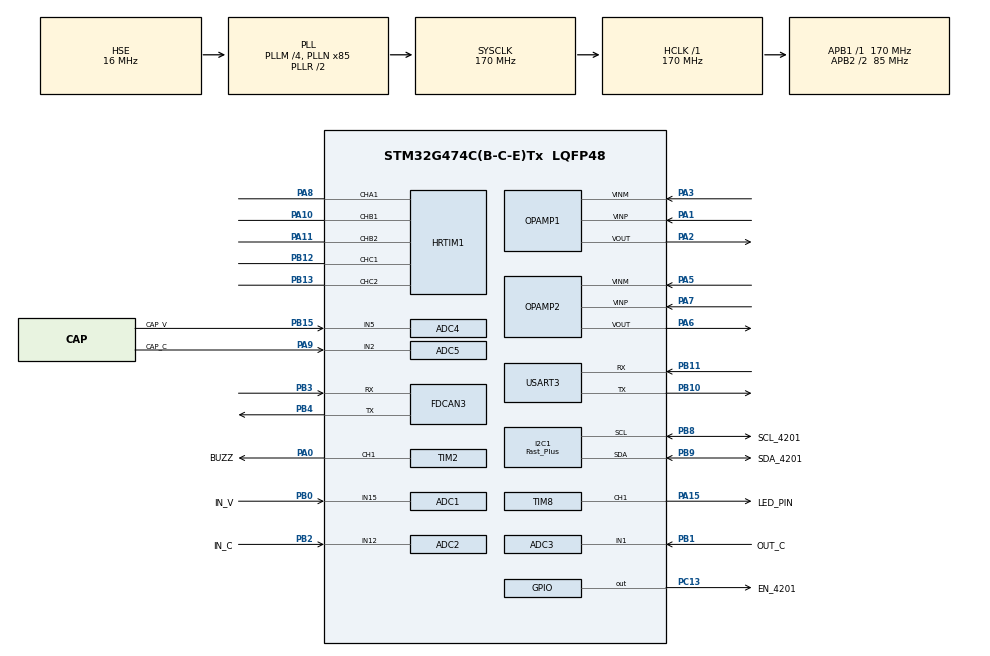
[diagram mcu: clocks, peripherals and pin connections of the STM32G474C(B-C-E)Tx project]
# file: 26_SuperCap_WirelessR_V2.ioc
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ADC1.Channel-0\#ChannelRegularConversion=ADC_CHANNEL_15
ADC1.DMAContinuousRequests=ENABLE
ADC1.ExternalTrigConv=ADC_EXTERNALTRIG_HRTIM_TRG1
ADC1.Mode=ADC_MODE_INDEPENDENT
ADC1.NbrOfConversion=1
ADC1.NbrOfConversionFlag=1
ADC1.OffsetNumber-0\#ChannelRegularConversion=ADC_OFFSET_NONE
ADC1.Overrun=ADC_OVR_DATA_OVERWRITTEN
ADC1.OversamplingMode=DISABLE
ADC1.Rank-0\#ChannelRegularConversion=1
ADC1.SamplingTime-0\#ChannelRegularConversion=ADC_SAMPLETIME_6CYCLES_5
ADC1.master=1
ADC2.Channel-0\#ChannelRegularConversion=ADC_CHANNEL_12
ADC2.DMAContinuousRequests=ENABLE
ADC2.ExternalTrigConv=ADC_EXTERNALTRIG_HRTIM_TRG1
ADC2.NbrOfConversionFlag=1
ADC2.OffsetNumber-0\#ChannelRegularConversion=ADC_OFFSET_NONE
ADC2.Overrun=ADC_OVR_DATA_OVERWRITTEN
ADC2.OversamplingMode=DISABLE
ADC2.Rank-0\#ChannelRegularConversion=1
ADC2.SamplingTime-0\#ChannelRegularConversion=ADC_SAMPLETIME_6CYCLES_5
ADC3.Channel-0\#ChannelRegularConversion=ADC_CHANNEL_1
ADC3.DMAContinuousRequests=ENABLE
ADC3.ExternalTrigConv=ADC_EXTERNALTRIG_HRTIM_TRG1
ADC3.NbrOfConversion=1
ADC3.NbrOfConversionFlag=1
ADC3.OffsetNumber-0\#ChannelRegularConversion=ADC_OFFSET_NONE
ADC3.Overrun=ADC_OVR_DATA_OVERWRITTEN
ADC3.OversamplingMode=DISABLE
ADC3.Rank-0\#ChannelRegularConversion=1
ADC3.SamplingTime-0\#ChannelRegularConversion=ADC_SAMPLETIME_6CYCLES_5
ADC3.master=1
ADC4.Channel-0\#ChannelRegularConversion=ADC_CHANNEL_5
ADC4.DMAContinuousRequests=ENABLE
ADC4.ExternalTrigConv=ADC_EXTERNALTRIG_HRTIM_TRG1
ADC4.NbrOfConversionFlag=1
ADC4.OffsetNumber-0\#ChannelRegularConversion=ADC_OFFSET_NONE
ADC4.Overrun=ADC_OVR_DATA_OVERWRITTEN
ADC4.OversamplingMode=DISABLE
ADC4.Rank-0\#ChannelRegularConversion=1
ADC4.SamplingTime-0\#ChannelRegularConversion=ADC_SAMPLETIME_6CYCLES_5
ADC5.Channel-0\#ChannelRegularConversion=ADC_CHANNEL_2
ADC5.DMAContinuousRequests=ENABLE
ADC5.ExternalTrigConv=ADC_EXTERNALTRIG_HRTIM_TRG1
ADC5.NbrOfConversionFlag=1
ADC5.OffsetNumber-0\#ChannelRegularConversion=ADC_OFFSET_NONE
ADC5.Overrun=ADC_OVR_DATA_OVERWRITTEN
ADC5.OversamplingMode=DISABLE
ADC5.Rank-0\#ChannelRegularConversion=1
ADC5.SamplingTime-0\#ChannelRegularConversion=ADC_SAMPLETIME_6CYCLES_5
Dma.ADC1.2.Direction=DMA_PERIPH_TO_MEMORY
Dma.ADC1.2.EventEnable=DISABLE
Dma.ADC1.2.Instance=DMA1_Channel5
Dma.ADC1.2.MemDataAlignment=DMA_MDATAALIGN_HALFWORD
Dma.ADC1.2.MemInc=DMA_MINC_ENABLE
Dma.ADC1.2.Mode=DMA_CIRCULAR
Dma.ADC1.2.PeriphDataAlignment=DMA_PDATAALIGN_HALFWORD
Dma.ADC1.2.PeriphInc=DMA_PINC_DISABLE
Dma.ADC1.2.Polarity=HAL_DMAMUX_REQ_GEN_RISING
Dma.ADC1.2.Priority=DMA_PRIORITY_HIGH
Dma.ADC1.2.RequestNumber=1
Dma.ADC1.2.SignalID=NONE
Dma.ADC1.2.SyncEnable=DISABLE
Dma.ADC1.2.SyncPolarity=HAL_DMAMUX_SYNC_NO_EVENT
Dma.ADC1.2.SyncRequestNumber=1
Dma.ADC1.2.SyncSignalID=NONE
Dma.ADC2.3.Direction=DMA_PERIPH_TO_MEMORY
Dma.ADC2.3.EventEnable=DISABLE
Dma.ADC2.3.Instance=DMA1_Channel6
Dma.ADC2.3.MemDataAlignment=DMA_MDATAALIGN_HALFWORD
Dma.ADC2.3.MemInc=DMA_MINC_ENABLE
Dma.ADC2.3.Mode=DMA_CIRCULAR
Dma.ADC2.3.PeriphDataAlignment=DMA_PDATAALIGN_HALFWORD
Dma.ADC2.3.PeriphInc=DMA_PINC_DISABLE
Dma.ADC2.3.Polarity=HAL_DMAMUX_REQ_GEN_RISING
Dma.ADC2.3.Priority=DMA_PRIORITY_HIGH
Dma.ADC2.3.RequestNumber=1
Dma.ADC2.3.SignalID=NONE
Dma.ADC2.3.SyncEnable=DISABLE
Dma.ADC2.3.SyncPolarity=HAL_DMAMUX_SYNC_NO_EVENT
Dma.ADC2.3.SyncRequestNumber=1
Dma.ADC2.3.SyncSignalID=NONE
Dma.ADC3.4.Direction=DMA_PERIPH_TO_MEMORY
Dma.ADC3.4.EventEnable=DISABLE
Dma.ADC3.4.Instance=DMA1_Channel7
Dma.ADC3.4.MemDataAlignment=DMA_MDATAALIGN_HALFWORD
Dma.ADC3.4.MemInc=DMA_MINC_ENABLE
Dma.ADC3.4.Mode=DMA_CIRCULAR
Dma.ADC3.4.PeriphDataAlignment=DMA_PDATAALIGN_HALFWORD
Dma.ADC3.4.PeriphInc=DMA_PINC_DISABLE
Dma.ADC3.4.Polarity=HAL_DMAMUX_REQ_GEN_RISING
Dma.ADC3.4.Priority=DMA_PRIORITY_HIGH
Dma.ADC3.4.RequestNumber=1
Dma.ADC3.4.SignalID=NONE
Dma.ADC3.4.SyncEnable=DISABLE
Dma.ADC3.4.SyncPolarity=HAL_DMAMUX_SYNC_NO_EVENT
Dma.ADC3.4.SyncRequestNumber=1
Dma.ADC3.4.SyncSignalID=NONE
Dma.ADC4.5.Direction=DMA_PERIPH_TO_MEMORY
Dma.ADC4.5.EventEnable=DISABLE
Dma.ADC4.5.Instance=DMA1_Channel8
Dma.ADC4.5.MemDataAlignment=DMA_MDATAALIGN_HALFWORD
Dma.ADC4.5.MemInc=DMA_MINC_ENABLE
Dma.ADC4.5.Mode=DMA_CIRCULAR
Dma.ADC4.5.PeriphDataAlignment=DMA_PDATAALIGN_HALFWORD
Dma.ADC4.5.PeriphInc=DMA_PINC_DISABLE
Dma.ADC4.5.Polarity=HAL_DMAMUX_REQ_GEN_RISING
Dma.ADC4.5.Priority=DMA_PRIORITY_HIGH
Dma.ADC4.5.RequestNumber=1
Dma.ADC4.5.SignalID=NONE
Dma.ADC4.5.SyncEnable=DISABLE
Dma.ADC4.5.SyncPolarity=HAL_DMAMUX_SYNC_NO_EVENT
Dma.ADC4.5.SyncRequestNumber=1
Dma.ADC4.5.SyncSignalID=NONE
Dma.ADC5.6.Direction=DMA_PERIPH_TO_MEMORY
Dma.ADC5.6.EventEnable=DISABLE
Dma.ADC5.6.Instance=DMA2_Channel1
Dma.ADC5.6.MemDataAlignment=DMA_MDATAALIGN_HALFWORD
Dma.ADC5.6.MemInc=DMA_MINC_ENABLE
Dma.ADC5.6.Mode=DMA_CIRCULAR
Dma.ADC5.6.PeriphDataAlignment=DMA_PDATAALIGN_HALFWORD
Dma.ADC5.6.PeriphInc=DMA_PINC_DISABLE
Dma.ADC5.6.Polarity=HAL_DMAMUX_REQ_GEN_RISING
Dma.ADC5.6.Priority=DMA_PRIORITY_HIGH
Dma.ADC5.6.RequestNumber=1
Dma.ADC5.6.SignalID=NONE
Dma.ADC5.6.SyncEnable=DISABLE
Dma.ADC5.6.SyncPolarity=HAL_DMAMUX_SYNC_NO_EVENT
Dma.ADC5.6.SyncRequestNumber=1
Dma.ADC5.6.SyncSignalID=NONE
Dma.I2C1_RX.7.Direction=DMA_PERIPH_TO_MEMORY
Dma.I2C1_RX.7.EventEnable=DISABLE
Dma.I2C1_RX.7.Instance=DMA1_Channel2
Dma.I2C1_RX.7.MemDataAlignment=DMA_MDATAALIGN_BYTE
Dma.I2C1_RX.7.MemInc=DMA_MINC_ENABLE
Dma.I2C1_RX.7.Mode=DMA_NORMAL
Dma.I2C1_RX.7.PeriphDataAlignment=DMA_PDATAALIGN_BYTE
Dma.I2C1_RX.7.PeriphInc=DMA_PINC_DISABLE
Dma.I2C1_RX.7.Polarity=HAL_DMAMUX_REQ_GEN_RISING
Dma.I2C1_RX.7.Priority=DMA_PRIORITY_HIGH
Dma.I2C1_RX.7.RequestNumber=1
Dma.I2C1_RX.7.SignalID=NONE
Dma.I2C1_RX.7.SyncEnable=DISABLE
Dma.I2C1_RX.7.SyncPolarity=HAL_DMAMUX_SYNC_NO_EVENT
Dma.I2C1_RX.7.SyncRequestNumber=1
Dma.I2C1_RX.7.SyncSignalID=NONE
Dma.I2C1_TX.8.Direction=DMA_MEMORY_TO_PERIPH
Dma.I2C1_TX.8.EventEnable=DISABLE
Dma.I2C1_TX.8.Instance=DMA1_Channel3
Dma.I2C1_TX.8.MemDataAlignment=DMA_MDATAALIGN_BYTE
Dma.I2C1_TX.8.MemInc=DMA_MINC_ENABLE
Dma.I2C1_TX.8.Mode=DMA_NORMAL
Dma.I2C1_TX.8.PeriphDataAlignment=DMA_PDATAALIGN_BYTE
Dma.I2C1_TX.8.PeriphInc=DMA_PINC_DISABLE
Dma.I2C1_TX.8.Polarity=HAL_DMAMUX_REQ_GEN_RISING
Dma.I2C1_TX.8.Priority=DMA_PRIORITY_HIGH
Dma.I2C1_TX.8.RequestNumber=1
Dma.I2C1_TX.8.SignalID=NONE
Dma.I2C1_TX.8.SyncEnable=DISABLE
Dma.I2C1_TX.8.SyncPolarity=HAL_DMAMUX_SYNC_NO_EVENT
Dma.I2C1_TX.8.SyncRequestNumber=1
Dma.I2C1_TX.8.SyncSignalID=NONE
Dma.Request0=USART3_RX
Dma.Request1=TIM8_CH1
Dma.Request2=ADC1
Dma.Request3=ADC2
Dma.Request4=ADC3
Dma.Request5=ADC4
Dma.Request6=ADC5
Dma.Request7=I2C1_RX
Dma.Request8=I2C1_TX
Dma.TIM8_CH1.1.Direction=DMA_MEMORY_TO_PERIPH
Dma.TIM8_CH1.1.EventEnable=DISABLE
Dma.TIM8_CH1.1.Instance=DMA1_Channel4
Dma.TIM8_CH1.1.MemDataAlignment=DMA_MDATAALIGN_BYTE
Dma.TIM8_CH1.1.MemInc=DMA_MINC_ENABLE
Dma.TIM8_CH1.1.Mode=DMA_NORMAL
Dma.TIM8_CH1.1.PeriphDataAlignment=DMA_PDATAALIGN_HALFWORD
Dma.TIM8_CH1.1.PeriphInc=DMA_PINC_DISABLE
Dma.TIM8_CH1.1.Polarity=HAL_DMAMUX_REQ_GEN_RISING
Dma.TIM8_CH1.1.Priority=DMA_PRIORITY_LOW
Dma.TIM8_CH1.1.RequestNumber=1
Dma.TIM8_CH1.1.SignalID=NONE
Dma.TIM8_CH1.1.SyncEnable=DISABLE
Dma.TIM8_CH1.1.SyncPolarity=HAL_DMAMUX_SYNC_NO_EVENT
Dma.TIM8_CH1.1.SyncRequestNumber=1
Dma.TIM8_CH1.1.SyncSignalID=NONE
Dma.USART3_RX.0.Direction=DMA_PERIPH_TO_MEMORY
Dma.USART3_RX.0.EventEnable=DISABLE
Dma.USART3_RX.0.Instance=DMA1_Channel1
Dma.USART3_RX.0.MemDataAlignment=DMA_MDATAALIGN_BYTE
Dma.USART3_RX.0.MemInc=DMA_MINC_ENABLE
Dma.USART3_RX.0.Mode=DMA_NORMAL
Dma.USART3_RX.0.PeriphDataAlignment=DMA_PDATAALIGN_BYTE
Dma.USART3_RX.0.PeriphInc=DMA_PINC_DISABLE
Dma.USART3_RX.0.Polarity=HAL_DMAMUX_REQ_GEN_RISING
Dma.USART3_RX.0.Priority=DMA_PRIORITY_LOW
Dma.USART3_RX.0.RequestNumber=1
Dma.USART3_RX.0.SignalID=NONE
Dma.USART3_RX.0.SyncEnable=DISABLE
Dma.USART3_RX.0.SyncPolarity=HAL_DMAMUX_SYNC_NO_EVENT
Dma.USART3_RX.0.SyncRequestNumber=1
Dma.USART3_RX.0.SyncSignalID=NONE
FDCAN3.AutoRetransmission=ENABLE
FDCAN3.CalculateBaudRateNominal=1000000
FDCAN3.CalculateTimeBitNominal=1000
FDCAN3.CalculateTimeQuantumNominal=100.0
FDCAN3.NominalPrescaler=17
FDCAN3.NominalTimeSeg1=6
FDCAN3.NominalTimeSeg2=3
FDCAN3.StdFiltersNbr=1
HRTIM1.ADCTrigger1_Source1=HRTIM_ADCTRIGGEREVENT13_MASTER_CMP2
HRTIM1.ADCTrigger_Id1=HRTIM_ADCTRIGGER_1
HRTIM1.CompareUnit1-MasterTimer=HRTIM_COMPAREUNIT_1
HRTIM1.CompareUnit1-Output_TA1=HRTIM_COMPAREUNIT_1
HRTIM1.CompareUnit1-Output_TB1TB2=HRTIM_COMPAREUNIT_1
HRTIM1.CompareUnit1-Output_TC1TC2=HRTIM_COMPAREUNIT_1
HRTIM1.CompareUnit2-MasterTimer=HRTIM_COMPAREUNIT_2
HRTIM1.CompareUnit2-Output_TB1TB2=__NULL
HRTIM1.CompareUnit3-Output_TA1=HRTIM_COMPAREUNIT_3
HRTIM1.CompareUnit3-Output_TB1TB2=__NULL
HRTIM1.CompareValue1-MasterTimer=PWM_PERIOD/2
HRTIM1.CompareValue1-Output_TA1=42501
HRTIM1.CompareValue1-Output_TB1TB2=PWM_PERIOD/2
HRTIM1.CompareValue1-Output_TC1TC2=PWM_PERIOD/2
HRTIM1.CompareValue2-MasterTimer=200
HRTIM1.CompareValue3-Output_TA1=0
HRTIM1.DeadTimeInsertion-Output_TB1TB2=HRTIM_TIMDEADTIMEINSERTION_ENABLED
HRTIM1.DeadTimeInsertion-Output_TC1TC2=HRTIM_TIMDEADTIMEINSERTION_ENABLED
HRTIM1.Event_EEV1=__NULL
HRTIM1.FallingValue-Output_TB1TB2=DEAD_TIME
HRTIM1.FallingValue-Output_TC1TC2=DEAD_TIME
HRTIM1.HRTIMInterruptResquests1=HRTIM_IT_SYSFLT
HRTIM1.InterruptRequests1-Output_TA1=HRTIM_TIM_IT_REP
HRTIM1.InterruptRequests1_Master=HRTIM_MASTER_IT_MREP
HRTIM1.NumberADCTriggerSource1=1
HRTIM1.NumberInterruptRequests-Output_TA1=1
HRTIM1.NumberInterruptRequests_Master-MasterTimer=1
HRTIM1.NumberResetSource1-Output_TA1=1
HRTIM1.NumberResetSource1-Output_TB1TB2=1
HRTIM1.NumberResetSource1-Output_TC1TC2=1
HRTIM1.NumberResetTrigger-Output_TA1=1
HRTIM1.NumberResetTrigger-Output_TB1TB2=1
HRTIM1.NumberResetTrigger-Output_TC1TC2=1
HRTIM1.NumberSetSource1-Output_TA1=1
HRTIM1.NumberSetSource1-Output_TB1TB2=1
HRTIM1.NumberSetSource1-Output_TC1TC2=1
HRTIM1.NumberUpdateTrigger-Output_TA1=1
HRTIM1.NumberUpdateTrigger-Output_TB1TB2=0
HRTIM1.NumberUpdateTrigger-Output_TC1TC2=0
HRTIM1.Periode_MASTER=PWM_PERIOD
HRTIM1.Periode_TA=42500
HRTIM1.Periode_TB=PWM_PERIOD
HRTIM1.Periode_TC=PWM_PERIOD
HRTIM1.Polarity1-Output_TC1TC2=HRTIM_OUTPUTPOLARITY_HIGH
HRTIM1.PreloadEnable-MasterTimer=HRTIM_PRELOAD_ENABLED
HRTIM1.PreloadEnable-Output_TA1=HRTIM_PRELOAD_ENABLED
HRTIM1.PreloadEnable-Output_TB1TB2=HRTIM_PRELOAD_ENABLED
HRTIM1.PreloadEnable-Output_TC1TC2=HRTIM_PRELOAD_ENABLED
HRTIM1.PrescalerRatio_TA=HRTIM_PRESCALERRATIO_DIV2
HRTIM1.RepetitionCounter-MasterTimer=8-1
HRTIM1.RepetitionUpdate-MasterTimer=HRTIM_UPDATEONREPETITION_ENABLED
HRTIM1.RepetitionUpdate-Output_TA1=HRTIM_UPDATEONREPETITION_ENABLED
HRTIM1.RepetitionUpdate-Output_TB1TB2=HRTIM_UPDATEONREPETITION_ENABLED
HRTIM1.RepetitionUpdate-Output_TC1TC2=HRTIM_UPDATEONREPETITION_ENABLED
HRTIM1.ResetOutput1_Source1-Output_TA1=HRTIM_OUTPUTRESET_TIMCMP3
HRTIM1.ResetOutput1_Source1-Output_TB1TB2=HRTIM_OUTPUTRESET_MASTERCMP1
HRTIM1.ResetOutput1_Source1-Output_TC1TC2=HRTIM_OUTPUTRESET_MASTERPER
HRTIM1.ResetTrigger1-Output_TB1TB2=HRTIM_TIMRESETTRIGGER_MASTER_CMP1
HRTIM1.ResetTrigger1-Output_TC1TC2=HRTIM_TIMRESETTRIGGER_MASTER_PER
HRTIM1.ResetUpdate-Output_TB1TB2=HRTIM_TIMUPDATEONRESET_ENABLED
HRTIM1.ResetUpdate-Output_TC1TC2=HRTIM_TIMUPDATEONRESET_ENABLED
HRTIM1.RisingValue-Output_TB1TB2=DEAD_TIME
HRTIM1.RisingValue-Output_TC1TC2=DEAD_TIME
HRTIM1.SetOutput1_Source1-Output_TA1=HRTIM_OUTPUTSET_TIMCMP1
HRTIM1.SetOutput1_Source1-Output_TB1TB2=HRTIM_OUTPUTSET_TIMCMP1
HRTIM1.SetOutput1_Source1-Output_TC1TC2=HRTIM_OUTPUTSET_TIMCMP1
HRTIM1.postscaler1=0
I2C1.I2C_Fall_Time=80
I2C1.I2C_Rise_Time=80
I2C1.I2C_Speed_Mode=I2C_Fast_Plus
I2C1.Timing=0x10B2102B
IWDG.Prescaler=IWDG_PRESCALER_8
IWDG.Reload=4000
IWDG.Window=4000
Mcu.Family=STM32G4
Mcu.Name=STM32G474C(B-C-E)Tx
Mcu.Package=LQFP48
Mcu.UserConstants=DEAD_TIME,80;PWM_PERIOD,27200
NVIC.DMA1_Channel1_IRQn=true\:2\:0\:true\:false\:true\:false\:true\:true
NVIC.DMA1_Channel2_IRQn=true\:10\:0\:true\:false\:true\:false\:true\:true
NVIC.DMA1_Channel3_IRQn=true\:10\:0\:true\:false\:true\:false\:true\:true
NVIC.DMA1_Channel4_IRQn=true\:15\:0\:true\:false\:true\:false\:true\:true
NVIC.DMA1_Channel5_IRQn=true\:0\:0\:true\:false\:true\:false\:true\:true
NVIC.DMA1_Channel6_IRQn=true\:0\:0\:true\:false\:true\:false\:true\:true
NVIC.DMA1_Channel7_IRQn=true\:0\:0\:true\:false\:true\:false\:true\:true
NVIC.DMA1_Channel8_IRQn=true\:0\:0\:true\:false\:true\:false\:true\:true
NVIC.DMA2_Channel1_IRQn=true\:0\:0\:true\:false\:true\:false\:true\:true
NVIC.FDCAN3_IT0_IRQn=true\:5\:0\:true\:false\:true\:true\:true\:true
NVIC.FDCAN3_IT1_IRQn=true\:5\:0\:true\:false\:true\:true\:true\:true
NVIC.HRTIM1_Master_IRQn=true\:0\:0\:true\:false\:true\:true\:true\:true
NVIC.HRTIM1_TIMA_IRQn=true\:0\:0\:false\:false\:true\:true\:true\:true
NVIC.I2C1_ER_IRQn=true\:15\:0\:true\:false\:true\:true\:true\:true
NVIC.I2C1_EV_IRQn=true\:0\:0\:true\:false\:true\:true\:true\:true
NVIC.PriorityGroup=NVIC_PRIORITYGROUP_4
NVIC.TIM1_TRG_COM_TIM17_IRQn=true\:5\:0\:true\:false\:true\:true\:true\:true
NVIC.TIM2_IRQn=true\:7\:0\:true\:false\:true\:true\:true\:true
NVIC.TIM5_IRQn=true\:0\:0\:false\:false\:true\:true\:true\:true
NVIC.TIM6_DAC_IRQn=true\:15\:0\:true\:false\:true\:true\:true\:true
NVIC.TIM7_DAC_IRQn=true\:1\:0\:true\:false\:true\:true\:true\:true
NVIC.USART3_IRQn=true\:3\:0\:true\:false\:true\:true\:true\:true
PA0.GPIO_Label=BUZZ
PA0.Signal=S_TIM2_CH1
PA1.Mode=Standalone
PA1.Signal=OPAMP1_VINP
PA10.Mode=Output_TB1TB2
PA10.Signal=HRTIM1_CHB1
PA11.Mode=Output_TB1TB2
PA11.Signal=HRTIM1_CHB2
PA13.Mode=Serial_Wire
PA13.Signal=SYS_JTMS-SWDIO
PA14.Mode=Serial_Wire
PA14.Signal=SYS_JTCK-SWCLK
PA15.GPIO_Label=LED_PIN
PA15.Signal=S_TIM8_CH1
PA2.Mode=Standalone
PA2.Signal=OPAMP1_VOUT
PA3.Mode=Standalone
PA3.Signal=OPAMP1_VINM
PA5.Mode=Standalone
PA5.Signal=OPAMP2_VINM
PA6.Mode=Standalone
PA6.Signal=OPAMP2_VOUT
PA7.Mode=Standalone
PA7.Signal=OPAMP2_VINP
PA8.Mode=Output_TA1
PA8.Signal=HRTIM1_CHA1
PA9.GPIO_Label=CAP_C
PA9.Mode=IN2-Single-Ended
PA9.Signal=ADC5_IN2
PB0.GPIO_Label=IN_V
PB0.Mode=IN15-Single-Ended
PB0.Signal=ADC1_IN15
PB1.GPIO_Label=OUT_C
PB1.Mode=IN1-Single-Ended
PB1.Signal=ADC3_IN1
PB10.Mode=Asynchronous
PB10.Signal=USART3_TX
PB11.Mode=Asynchronous
PB11.Signal=USART3_RX
PB12.Mode=Output_TC1TC2
PB12.Signal=HRTIM1_CHC1
PB13.Mode=Output_TC1TC2
PB13.Signal=HRTIM1_CHC2
PB15.GPIO_Label=CAP_V
PB15.Mode=IN5-Single-Ended
PB15.Signal=ADC4_IN5
PB2.GPIO_Label=IN_C
PB2.Mode=IN12-Single-Ended
PB2.Signal=ADC2_IN12
PB3.GPIO_Speed=GPIO_SPEED_FREQ_VERY_HIGH
PB3.Mode=FDCAN_Activate
PB3.Signal=FDCAN3_RX
PB4.GPIO_Speed=GPIO_SPEED_FREQ_VERY_HIGH
PB4.Mode=FDCAN_Activate
PB4.Signal=FDCAN3_TX
PB8-BOOT0.GPIO_FM8=SYSCFG_FASTMODEPLUS_PB8
PB8-BOOT0.GPIO_Label=SCL_4201
PB8-BOOT0.GPIO_Mode=GPIO_MODE_AF_OD
PB8-BOOT0.GPIO_Speed=GPIO_SPEED_FREQ_VERY_HIGH
PB8-BOOT0.Mode=I2C
PB8-BOOT0.Signal=I2C1_SCL
PB9.GPIO_FM9=SYSCFG_FASTMODEPLUS_PB9
PB9.GPIO_Label=SDA_4201
PB9.GPIO_Mode=GPIO_MODE_AF_OD
PB9.GPIO_Speed=GPIO_SPEED_FREQ_VERY_HIGH
PB9.Mode=I2C
PB9.Signal=I2C1_SDA
PC13.GPIO_Label=EN_4201
PC13.GPIO_PuPd=GPIO_NOPULL
PC13.Signal=GPIO_Output
PF0-OSC_IN.Mode=HSE-External-Oscillator
PF0-OSC_IN.Signal=RCC_OSC_IN
PF1-OSC_OUT.Mode=HSE-External-Oscillator
PF1-OSC_OUT.Signal=RCC_OSC_OUT
ProjectManager.HeapSize=0x400
ProjectManager.StackSize=0x1000
ProjectManager.TargetToolchain=MDK-ARM V5.32
RCC.ADC12Freq_Value=170000000
RCC.ADC345Freq_Value=170000000
RCC.AHBFreq_Value=170000000
RCC.APB1Freq_Value=170000000
RCC.APB1TimFreq_Value=170000000
RCC.APB2CLKDivider=RCC_HCLK_DIV2
RCC.APB2Freq_Value=85000000
RCC.APB2TimFreq_Value=170000000
RCC.CortexFreq_Value=170000000
RCC.EXTERNAL_CLOCK_VALUE=12288000
RCC.HCLKFreq_Value=170000000
RCC.HSE_VALUE=16000000
RCC.HSI48_VALUE=48000000
RCC.HSI_VALUE=16000000
RCC.LSE_VALUE=32768
RCC.PLLM=RCC_PLLM_DIV4
RCC.PLLN=85
RCC.PLLSourceVirtual=RCC_PLLSOURCE_HSE
RCC.SYSCLKFreq_VALUE=170000000
RCC.SYSCLKSource=RCC_SYSCLKSOURCE_PLLCLK
RCC.USBFreq_Value=170000000
RCC.VCOOutputFreq_Value=340000000
SH.S_TIM2_CH1.0=TIM2_CH1,PWM Generation1 CH1
SH.S_TIM8_CH1.0=TIM8_CH1,PWM Generation1 CH1
TIM17.PeriodNoDither=1000-1
TIM17.Prescaler=1700-1
TIM2.AutoReloadPreload=TIM_AUTORELOAD_PRELOAD_ENABLE
TIM2.Channel-PWM\ Generation1\ CH1=TIM_CHANNEL_1
TIM2.PeriodNoDither=2273-1
TIM2.Prescaler=170-1
TIM2.PulseNoDither_1=400
TIM5.AutoReloadPreload=TIM_AUTORELOAD_PRELOAD_ENABLE
TIM5.PeriodNoDither=1000-1
TIM5.Prescaler=85-1
TIM6.AutoReloadPreload=TIM_AUTORELOAD_PRELOAD_ENABLE
TIM6.PeriodNoDither=10000 - 1
TIM6.Prescaler=170-1
TIM7.PeriodNoDither=100-1
TIM7.Prescaler=425-1
TIM8.Channel-PWM\ Generation1\ CH1=TIM_CHANNEL_1
TIM8.PeriodNoDither=12-1
TIM8.Prescaler=17-1
USART3.VirtualMode-Asynchronous=VM_ASYNC
VP_HRTIM1_VS_hrtimMasterTimerNoOutput.Mode=MasterTimer
VP_IWDG_VS_IWDG.Mode=IWDG_Activate
VP_SYS_VS_DBSignals.Mode=DisableDeadBatterySignals
VP_TIM17_VS_ClockSourceINT.Mode=Enable_Timer
VP_TIM2_VS_ClockSourceINT.Mode=Internal
VP_TIM5_VS_ClockSourceINT.Mode=Internal
VP_TIM6_VS_ClockSourceINT.Mode=Enable_Timer
VP_TIM7_VS_ClockSourceINT.Mode=Enable_Timer
board=custom

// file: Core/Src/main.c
/* USER CODE BEGIN Header */
/**
  ******************************************************************************
  * @file           : main.c
  * @brief          : Main program body
  ******************************************************************************
  * @attention
  *
  * Copyright (c) 2026 STMicroelectronics.
  * All rights reserved.
  *
  * This software is licensed under terms that can be found in the LICENSE file
  * in the root directory of this software component.
  * If no LICENSE file comes with this software, it is provided AS-IS.
  *
  ******************************************************************************
  */
/* USER CODE END Header */
#include "main.h"
#include "adc.h"
#include "dma.h"
#include "fdcan.h"
#include "hrtim.h"
#include "i2c.h"
#include "iwdg.h"
#include "opamp.h"
#include "tim.h"
#include "usart.h"
#include "gpio.h"

/* USER CODE BEGIN Includes */
#include "../../User/WirelessR/Inc/MP4201.h"
#include "../../User/config.h"
// #include "EventRecorder.h"
/* USER CODE END Includes */

/* USER CODE BEGIN PV */
extern MP4201_Handle_t mp4201_dev; // 全局 MP4201 设备句柄
extern uint8_t uart3_rx_buf[256];
extern uint8_t pwm_buffer[PWM_BUFFER_SIZE];

extern uint16_t adc1_buf[16];
extern uint16_t adc2_buf[16];
extern uint16_t adc3_buf[16];
extern uint16_t adc4_buf[16];
extern uint16_t adc5_buf[16];
/* USER CODE END PV */

void SystemClock_Config(void);

/* USER CODE BEGIN 0 */
extern void CAN_filter_config(FDCAN_HandleTypeDef* hfdcan);
static HAL_StatusTypeDef MP4201_ApplyRuntimeConfig(void);
static void MP4201_RecoverI2CIfNeeded(void);

/* USER CODE END 0 */

int main(void)
{

  /* MCU Configuration--------------------------------------------------------*/

  /* Reset of all peripherals, Initializes the Flash interface and the Systick. */
  HAL_Init();

  /* Configure the system clock */
  SystemClock_Config();

  /* Initialize all configured peripherals */
  MX_GPIO_Init();
  MX_DMA_Init();
  MX_ADC1_Init();
  MX_ADC2_Init();
  MX_ADC3_Init();
  MX_ADC4_Init();
  MX_ADC5_Init();
  MX_FDCAN3_Init();
  MX_HRTIM1_Init();
  MX_I2C1_Init();
  MX_OPAMP1_Init();
  MX_OPAMP2_Init();
  MX_TIM2_Init();
  MX_TIM5_Init();
  MX_TIM6_Init();
  MX_TIM7_Init();
  MX_TIM8_Init();
  MX_TIM17_Init();
  MX_USART3_UART_Init();
  MX_IWDG_Init();
  /* USER CODE BEGIN 2 */
    // EventRecorderInitialize(EventRecordAll, 1U);

    // EventRecorderStart();
    /*-------------------------------------------------*/
    /*                  WirelessR 配置                  */
    /*-------------------------------------------------*/
    // 初始化 MP4201 设备，检查连接
    if (MP4201_Init(&mp4201_dev, &I2C_HANDLER_4201) == HAL_OK){
        MP4201_ApplyRuntimeConfig();
    }

    HAL_TIM_Base_Start_IT(&TIMER_HANDLER_4201_CTRL_LOOP);
    HAL_TIM_Base_Start_IT(&TIMER_HANDLER_4201_ASK_LOOP);

    /*-------------------------------------------------*/
    /*                   SuperCap 配置                  */
    /*-------------------------------------------------*/
    HAL_Delay(200);
    HAL_IWDG_Refresh(&hiwdg);

    HAL_Delay(100);
    HAL_IWDG_Refresh(&hiwdg);

    HAL_OPAMP_SelfCalibrate(&hopamp1);
    HAL_OPAMP_Start(&hopamp1);
    HAL_OPAMP_SelfCalibrate(&hopamp2);
    HAL_OPAMP_Start(&hopamp2);

    HAL_UARTEx_ReceiveToIdle_DMA(&USART_HANDLER_REFEREE, uart3_rx_buf, sizeof (uart3_rx_buf));

    CAN_filter_config(&FDCAN_HANDLER);
    HAL_FDCAN_Start(&FDCAN_HANDLER);

    HAL_ADCEx_Calibration_Start(&hadc1,ADC_SINGLE_ENDED);
    HAL_ADCEx_Calibration_Start(&hadc2,ADC_SINGLE_ENDED);
    HAL_ADCEx_Calibration_Start(&hadc3,ADC_SINGLE_ENDED);
    HAL_ADCEx_Calibration_Start(&hadc4,ADC_SINGLE_ENDED);
    HAL_ADCEx_Calibration_Start(&hadc5,ADC_SINGLE_ENDED);
    HAL_IWDG_Refresh(&hiwdg);

    HAL_Delay(50);

    HAL_ADC_Start_DMA(&hadc1, (uint32_t *)adc1_buf, 8);
    HAL_ADC_Start_DMA(&hadc2, (uint32_t *)adc2_buf, 8);
    HAL_ADC_Start_DMA(&hadc3, (uint32_t *)adc3_buf, 8);
    HAL_ADC_Start_DMA(&hadc4, (uint32_t *)adc4_buf, 8);
    HAL_ADC_Start_DMA(&hadc5, (uint32_t *)adc5_buf, 8);
    HAL_IWDG_Refresh(&hiwdg);

    HAL_HRTIM_SoftwareUpdate(&HRTIMER_HANDLER_BBM, HRTIM_TIMERUPDATE_MASTER | HRTIM_TIMERUPDATE_B | HRTIM_TIMERUPDATE_C);
    HAL_HRTIM_WaveformCountStart(&HRTIMER_HANDLER_BBM, HRTIM_TIMERID_MASTER | HRTIM_TIMERID_TIMER_A | HRTIM_TIMERID_TIMER_B | HRTIM_TIMERID_TIMER_C);
    HAL_Delay(50);

    HAL_HRTIM_SimpleBaseStart_IT(&HRTIMER_HANDLER_BBM,HRTIM_TIMERINDEX_MASTER);
    HAL_HRTIM_SimpleBaseStart_IT(&HRTIMER_HANDLER_BBM,HRTIM_TIMERINDEX_TIMER_A);
    HAL_Delay(5);
    HAL_HRTIM_WaveformOutputStart(&HRTIMER_HANDLER_BBM, HRTIM_OUTPUT_TB1 | HRTIM_OUTPUT_TB2 | HRTIM_OUTPUT_TC1 | HRTIM_OUTPUT_TC2);
    // HAL_TIM_Base_Start_IT(&TIMER_HANDLER_BUZZ_PWM); // 中断疑似没用
    HAL_TIM_Base_Start(&TIMER_HANDLER_BUZZ_PWM);
    HAL_TIM_PWM_Start_IT(&TIMER_HANDLER_BUZZ_PWM, TIMER_CHANNEL_BUZZ_PWM);
    HAL_IWDG_Refresh(&hiwdg);

    HAL_TIM_Base_Start_IT(&TIMER_HANDLER_CAN_CTRL_LOOP);
    HAL_TIM_Base_Start_IT(&TIMER_HANDLER_BUZZ_WS2812_CTRL_LOOP);

  /* USER CODE END 2 */

  /* Infinite loop */
    while (1) {

    /* USER CODE BEGIN 3 */
        if (!mp4201_dev.is_connected) {
            if (MP4201_Init_Retry(&mp4201_dev, &I2C_HANDLER_4201, 100, 2000)
                == HAL_OK) {
                MP4201_ApplyRuntimeConfig();
            }
        }
    }
  /* USER CODE END 3 */
}

void SystemClock_Config(void)
{
  RCC_OscInitTypeDef RCC_OscInitStruct = {0};
  RCC_ClkInitTypeDef RCC_ClkInitStruct = {0};

  /** Configure the main internal regulator output voltage
  */
  HAL_PWREx_ControlVoltageScaling(PWR_REGULATOR_VOLTAGE_SCALE1_BOOST);

  /** Initializes the RCC Oscillators according to the specified parameters
  * in the RCC_OscInitTypeDef structure.
  */
  RCC_OscInitStruct.OscillatorType = RCC_OSCILLATORTYPE_LSI|RCC_OSCILLATORTYPE_HSE;
  RCC_OscInitStruct.HSEState = RCC_HSE_ON;
  RCC_OscInitStruct.LSIState = RCC_LSI_ON;
  RCC_OscInitStruct.PLL.PLLState = RCC_PLL_ON;
  RCC_OscInitStruct.PLL.PLLSource = RCC_PLLSOURCE_HSE;
  RCC_OscInitStruct.PLL.PLLM = RCC_PLLM_DIV4;
  RCC_OscInitStruct.PLL.PLLN = 85;
  RCC_OscInitStruct.PLL.PLLP = RCC_PLLP_DIV2;
  RCC_OscInitStruct.PLL.PLLQ = RCC_PLLQ_DIV2;
  RCC_OscInitStruct.PLL.PLLR = RCC_PLLR_DIV2;
  if (HAL_RCC_OscConfig(&RCC_OscInitStruct) != HAL_OK)
  {
    Error_Handler();
  }

  /** Initializes the CPU, AHB and APB buses clocks
  */
  RCC_ClkInitStruct.ClockType = RCC_CLOCKTYPE_HCLK|RCC_CLOCKTYPE_SYSCLK
                              |RCC_CLOCKTYPE_PCLK1|RCC_CLOCKTYPE_PCLK2;
  RCC_ClkInitStruct.SYSCLKSource = RCC_SYSCLKSOURCE_PLLCLK;
  RCC_ClkInitStruct.AHBCLKDivider = RCC_SYSCLK_DIV1;
  RCC_ClkInitStruct.APB1CLKDivider = RCC_HCLK_DIV1;
  RCC_ClkInitStruct.APB2CLKDivider = RCC_HCLK_DIV2;

  if (HAL_RCC_ClockConfig(&RCC_ClkInitStruct, FLASH_LATENCY_4) != HAL_OK)
  {
    Error_Handler();
  }
}

/* USER CODE BEGIN 4 */
static HAL_StatusTypeDef MP4201_ApplyRuntimeConfig(void) {
    mp4201_dev.state = MP4201_STATE_PROCESSING;
    HAL_StatusTypeDef ifConfigBasicSuccess = MP4201_ConfigBasic(&mp4201_dev);

    HAL_StatusTypeDef ifConfigMaximumSuccess = MP4201_ConfigureMaximum(&mp4201_dev, WR_MAX_VOUT, WR_MAX_IOUT);

    HAL_StatusTypeDef ifConfigWRInputSuccess = MP4201_ConfigWirelessInput(&mp4201_dev, WR_MIN_VIN);

#if WR_MODE == 1
    MP4201_SetCP_Target(&mp4201_dev, WR_CP_TARGET, WR_CP_PI_KP, WR_CP_PI_KI);
#elif WR_MODE == 0
    MP4201_SetCV_Target(&mp4201_dev, WR_CV_TARGET);
#endif

    if (!mp4201_dev.is_connected) {
        return HAL_ERROR;
    }
    //  不在此处 Enable MP4201。输出的使能由 WirelessChargeManager 根据
    //  vin schmitt 判断后统一管理，避免无线充未就位时 MP4201 被错误开启。
    mp4201_dev.state = MP4201_STATE_IDLE;
    if (ifConfigBasicSuccess | ifConfigMaximumSuccess | ifConfigWRInputSuccess) { return HAL_ERROR; }
    return HAL_OK;
}

static void MP4201_RecoverI2CIfNeeded(void) {
    if (!mp4201_dev.needs_i2c_recovery) {
        return;
    }

    HAL_I2C_DeInit(&I2C_HANDLER_4201);
    MX_I2C1_Init();
    mp4201_dev.needs_i2c_recovery = 0;
}
/* USER CODE END 4 */

void Error_Handler(void)
{
    __disable_irq();
    while (1) {}
}
